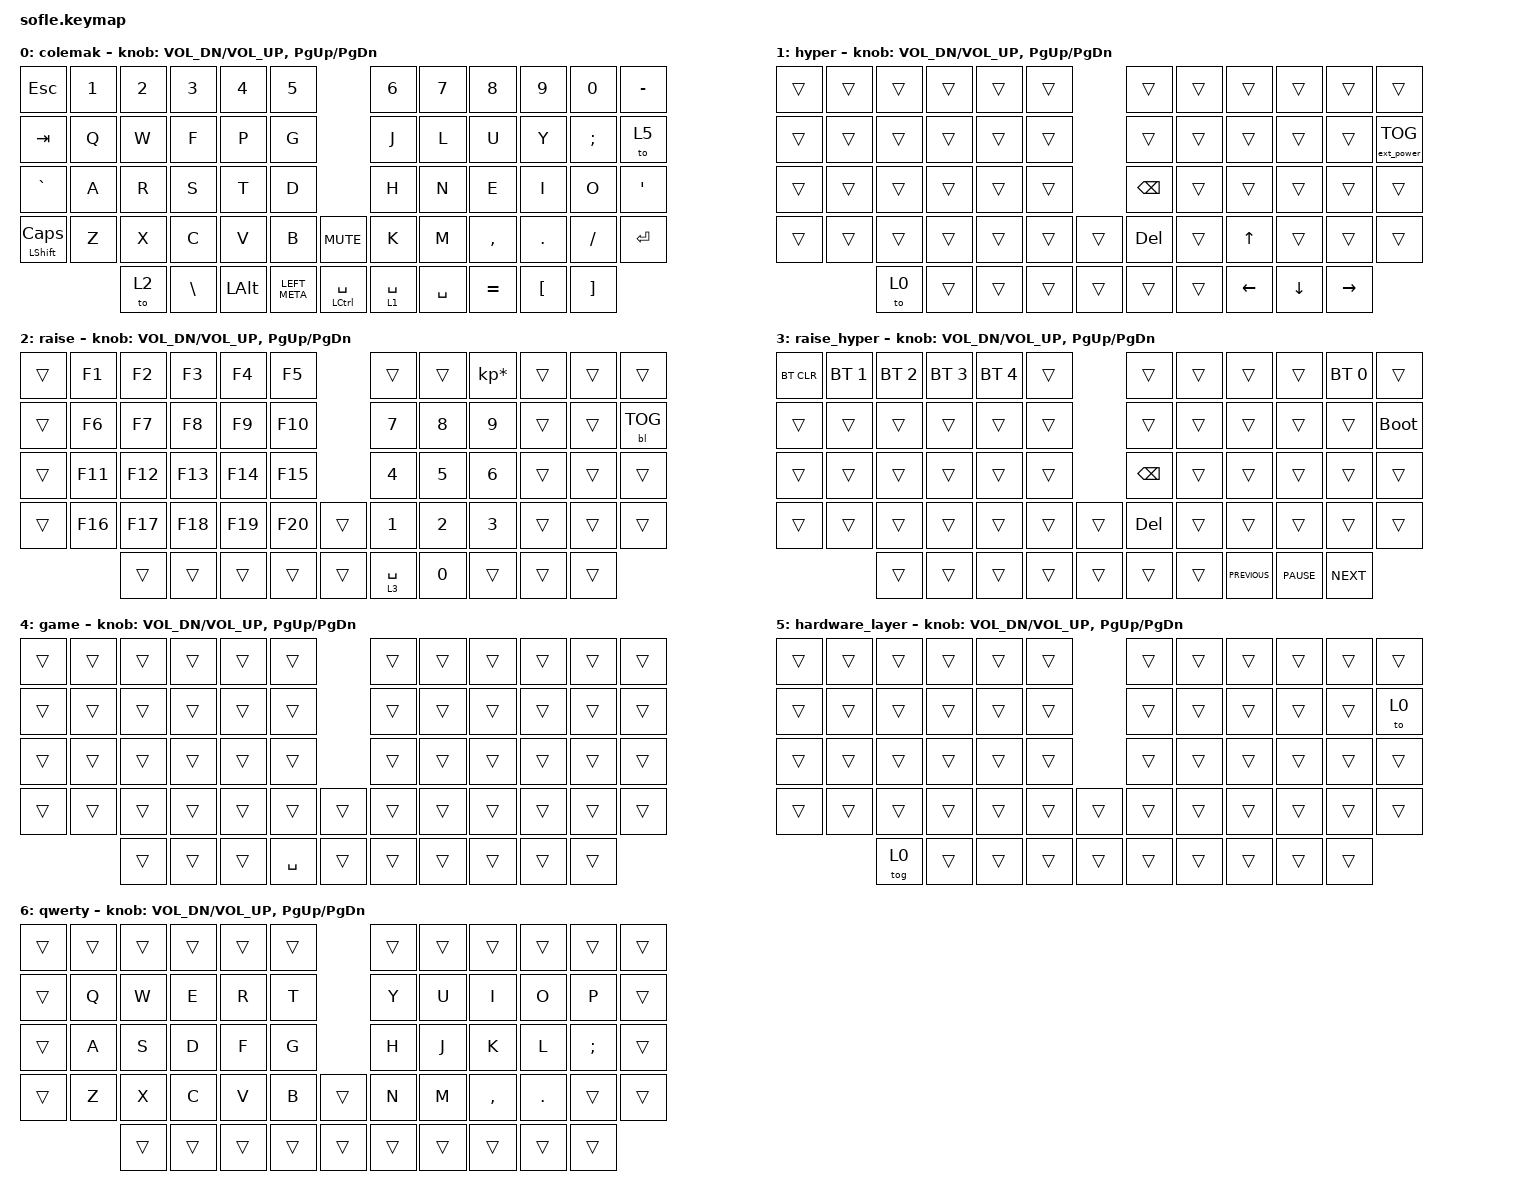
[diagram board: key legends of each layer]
#include <behaviors.dtsi>
#include <dt-bindings/zmk/backlight.h>
#include <dt-bindings/zmk/bt.h>
#include <dt-bindings/zmk/ext_power.h>
#include <dt-bindings/zmk/keys.h>

/ {
    keymap {
        compatible = "zmk,keymap";

        default_layer {
            label = "colemak";
            bindings = <
&kp ESCAPE         &kp N1  &kp N2  &kp N3    &kp N4        &kp N5                                                &kp N6     &kp N7     &kp N8            &kp N9             &kp N0         &kp MINUS
&kp TAB            &kp Q   &kp W   &kp F     &kp P         &kp G                                                 &kp J      &kp L      &kp U             &kp Y              &kp SEMICOLON  &to 5
&kp GRAVE          &kp A   &kp R   &kp S     &kp T         &kp D                                                 &kp H      &kp N      &kp E             &kp I              &kp O          &kp SINGLE_QUOTE
&mt LSHFT CAPSLOCK &kp Z   &kp X   &kp C     &kp V         &kp B          &kp K_MUTE                             &kp K      &kp M      &kp COMMA         &kp PERIOD         &kp SLASH      &kp RET
                           &to 2   &kp BSLH  &kp LEFT_ALT  &kp LEFT_META  &mt LEFT_CONTROL SPACE    &lt 1 SPACE  &kp SPACE  &kp EQUAL  &kp LEFT_BRACKET  &kp RIGHT_BRACKET
            >;
            sensor-bindings = <&inc_dec_kp C_VOL_DN C_VOL_UP &inc_dec_kp PG_UP PG_DN>;
        };

        hyper_layer {
            label = "hyper";
            bindings = <
&trans  &trans  &trans  &trans  &trans  &trans                    &trans         &trans          &trans          &trans           &trans  &trans
&trans  &trans  &trans  &trans  &trans  &trans                    &trans         &trans          &trans          &trans           &trans  &ext_power EP_TOG
&trans  &trans  &trans  &trans  &trans  &trans                    &kp BACKSPACE  &trans          &trans          &trans           &trans  &trans
&trans  &trans  &trans  &trans  &trans  &trans  &trans            &kp DELETE     &trans          &kp UP_ARROW    &trans           &trans  &trans
                &to 0   &trans  &trans  &trans  &trans    &trans  &trans         &kp LEFT_ARROW  &kp DOWN_ARROW  &kp RIGHT_ARROW
            >;
            sensor-bindings = <&inc_dec_kp C_VOL_DN C_VOL_UP &inc_dec_kp PG_UP PG_DN>;
        };

        raise_layer {
            label = "raise";
            bindings = <
&trans  &kp F1   &kp F2   &kp F3   &kp F4   &kp F5                          &trans  &trans  &kp KP_MULTIPLY  &trans  &trans  &trans
&trans  &kp F6   &kp F7   &kp F8   &kp F9   &kp F10                         &kp N7  &kp N8  &kp N9           &trans  &trans  &bl BL_TOG
&trans  &kp F11  &kp F12  &kp F13  &kp F14  &kp F15                         &kp N4  &kp N5  &kp N6           &trans  &trans  &trans
&trans  &kp F16  &kp F17  &kp F18  &kp F19  &kp F20  &trans                 &kp N1  &kp N2  &kp N3           &trans  &trans  &trans
                 &trans   &trans   &trans   &trans   &trans    &lt 3 SPACE  &kp N0  &trans  &trans           &trans
            >;
            sensor-bindings = <&inc_dec_kp C_VOL_DN C_VOL_UP &inc_dec_kp PG_UP PG_DN>;
        };

        raise_hyper_layer {
            label = "raise_hyper";
            bindings = <
&bt BT_CLR  &bt BT_SEL 1  &bt BT_SEL 2  &bt BT_SEL 3  &bt BT_SEL 4  &trans                    &trans         &trans          &trans       &trans      &bt BT_SEL 0  &trans
&trans      &trans        &trans        &trans        &trans        &trans                    &trans         &trans          &trans       &trans      &trans        &bootloader
&trans      &trans        &trans        &trans        &trans        &trans                    &kp BACKSPACE  &trans          &trans       &trans      &trans        &trans
&trans      &trans        &trans        &trans        &trans        &trans  &trans            &kp DELETE     &trans          &trans       &trans      &trans        &trans
                          &trans        &trans        &trans        &trans  &trans    &trans  &trans         &kp C_PREVIOUS  &kp C_PAUSE  &kp C_NEXT
            >;
            sensor-bindings = <&inc_dec_kp C_VOL_DN C_VOL_UP &inc_dec_kp PG_UP PG_DN>;
        };

        game_layer {
            label = "game";
            bindings = <
&trans  &trans  &trans  &trans  &trans  &trans                       &trans  &trans  &trans  &trans  &trans  &trans
&trans  &trans  &trans  &trans  &trans  &trans                       &trans  &trans  &trans  &trans  &trans  &trans
&trans  &trans  &trans  &trans  &trans  &trans                       &trans  &trans  &trans  &trans  &trans  &trans
&trans  &trans  &trans  &trans  &trans  &trans     &trans            &trans  &trans  &trans  &trans  &trans  &trans
                &trans  &trans  &trans  &kp SPACE  &trans    &trans  &trans  &trans  &trans  &trans
            >;
            sensor-bindings = <&inc_dec_kp C_VOL_DN C_VOL_UP &inc_dec_kp PG_UP PG_DN>;
        };

        hardware_layer {
            label = "hardware_layer";
            bindings = <
&trans  &trans  &trans  &trans  &trans  &trans                    &trans  &trans  &trans  &trans  &trans  &trans
&trans  &trans  &trans  &trans  &trans  &trans                    &trans  &trans  &trans  &trans  &trans  &to 0
&trans  &trans  &trans  &trans  &trans  &trans                    &trans  &trans  &trans  &trans  &trans  &trans
&trans  &trans  &trans  &trans  &trans  &trans  &trans            &trans  &trans  &trans  &trans  &trans  &trans
                &tog 0  &trans  &trans  &trans  &trans    &trans  &trans  &trans  &trans  &trans
            >;
            sensor-bindings = <&inc_dec_kp C_VOL_DN C_VOL_UP &inc_dec_kp PG_UP PG_DN>;
        };

        qwerty {
            label = "qwerty";
            bindings = <
&trans  &trans  &trans  &trans  &trans  &trans                    &trans  &trans  &trans     &trans   &trans    &trans
&trans  &kp Q   &kp W   &kp E   &kp R   &kp T                     &kp Y   &kp U   &kp I      &kp O    &kp P     &trans
&trans  &kp A   &kp S   &kp D   &kp F   &kp G                     &kp H   &kp J   &kp K      &kp L    &kp SEMI  &trans
&trans  &kp Z   &kp X   &kp C   &kp V   &kp B   &trans            &kp N   &kp M   &kp COMMA  &kp DOT  &trans    &trans
                &trans  &trans  &trans  &trans  &trans    &trans  &trans  &trans  &trans     &trans
            >;
            sensor-bindings = <&inc_dec_kp C_VOL_DN C_VOL_UP &inc_dec_kp PG_UP PG_DN>;
        };
    };
};
